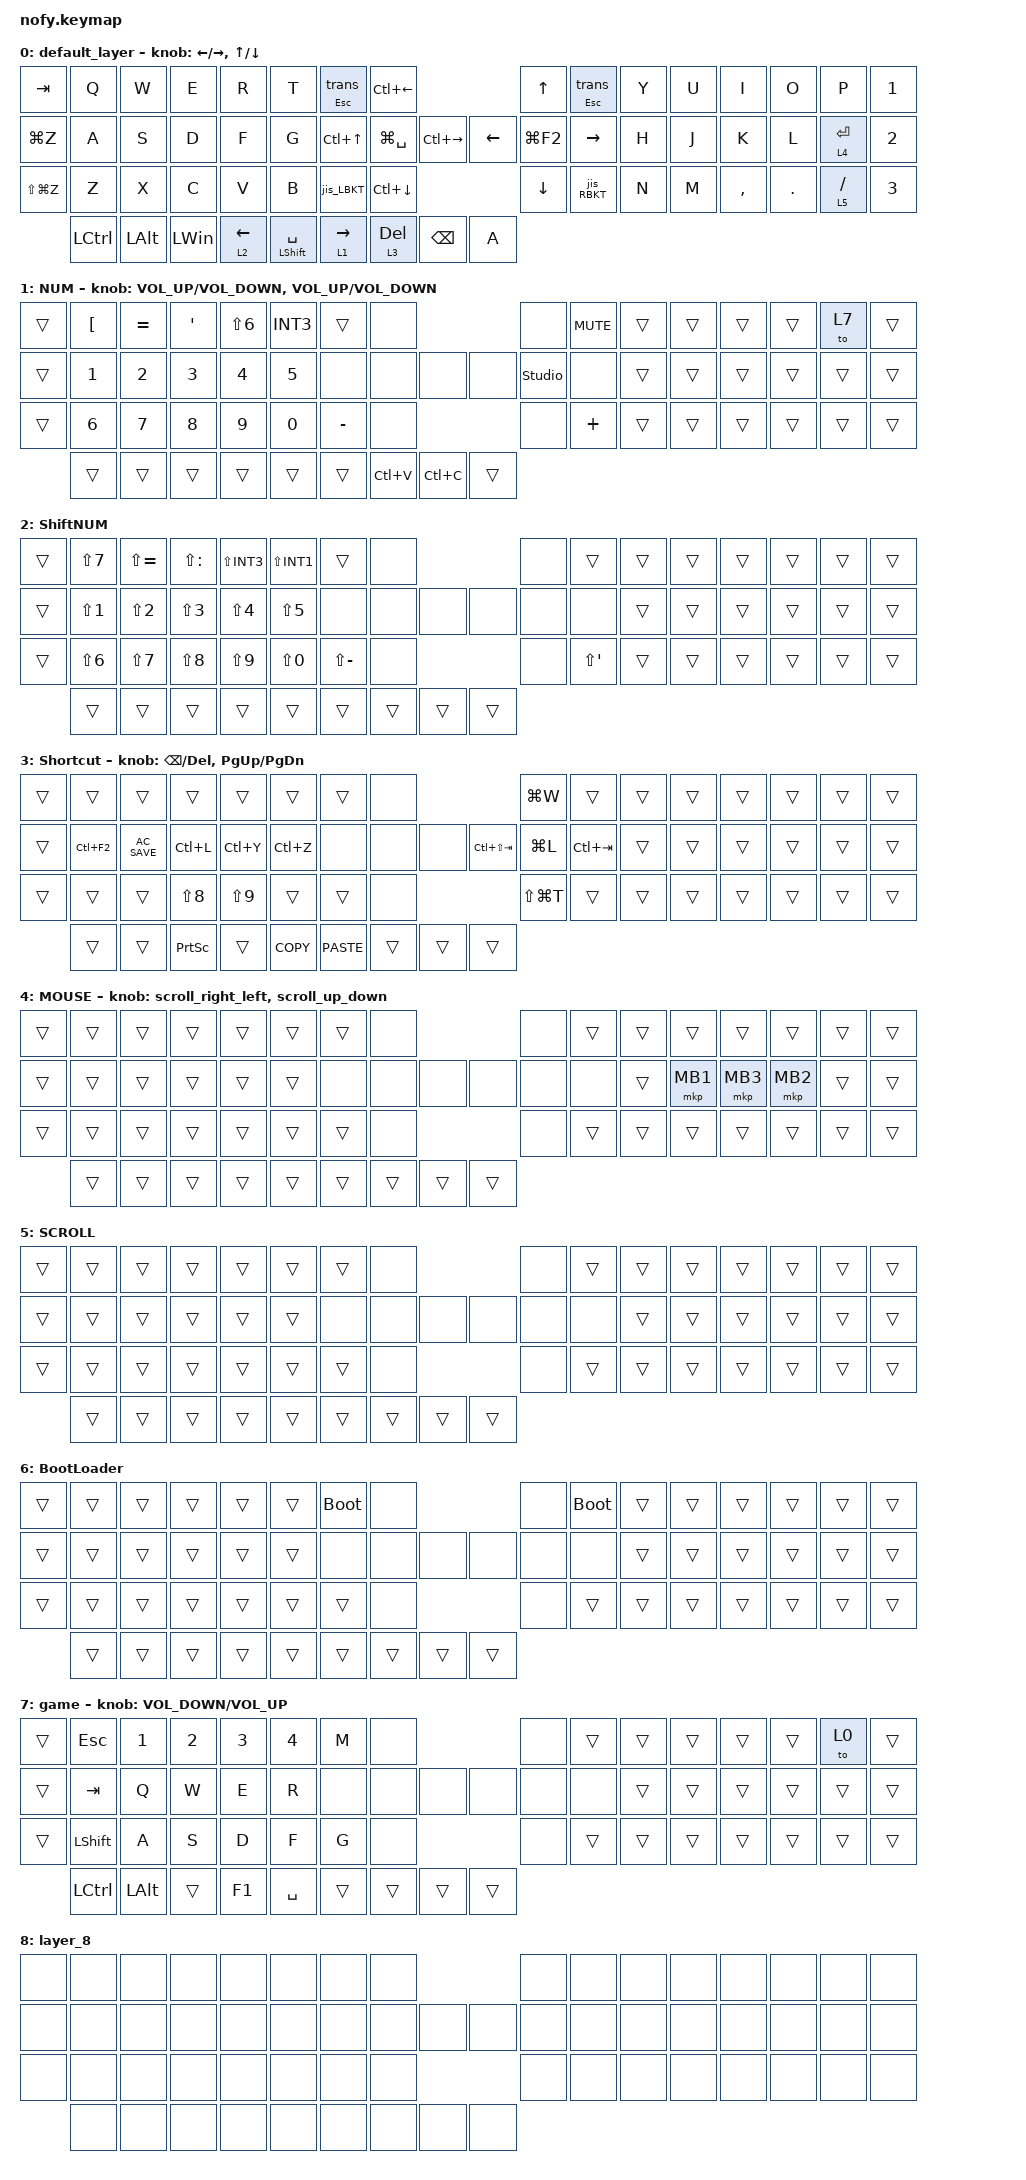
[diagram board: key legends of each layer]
#include <input/processors.dtsi>
#include <dt-bindings/zmk/input_transform.h>
#include <zephyr/dt-bindings/input/input-event-codes.h>
#include <behaviors.dtsi>
#include <dt-bindings/zmk/keys.h>
#include <dt-bindings/zmk/pointing.h>

#define ZMK_MOUSE_DEFAULT_SCRL_VAL 100

// 参考https://note.com/kloir_z/n/n314e739f03a1

#define JP_ZKHK  GRAVE        // Zenkaku ↔ Hankaku ↔ Kanji (半角 ↔ 全角 ↔ 漢字)
#define JP_MINUS MINUS        // -
#define JP_CARET EQUAL        // ^
#define JP_YEN   INT3         // ¥
#define JP_AT    LBKT         // @
#define JP_LBKT  RBKT         // [ß
#define JP_EISU  CAPS         // Eisū (英数)
#define JP_SEMI  SEMI         // ;
#define JP_COLON SQT          // :
#define JP_RBKT  NUHS         // ]
#define JP_COMMA COMMA        // ,
#define JP_DOT   DOT          // .
#define JP_SLASH SLASH        // /
#define JP_BSLH  INT1         // (backslash)
#define JP_MHEN  INT5         // Muhenkan (無変換)
#define JP_HENK  INT4         // Henkan (変換)
#define JP_KANA  INT2         // Katakana ↔ Hiragana ↔ Rōmaji (カタカナ ↔ ひらがな ↔ ローマ字)
#define JP_EXCL  LS(N1)       // !
#define JP_DQT   LS(N2)       // "
#define JP_HASH  LS(N3)       // #
#define JP_DLLR  LS(N4)       // $
#define JP_PRCNT LS(N5)       // %
#define JP_AMPS  LS(N6)       // &
#define JP_SQT   LS(N7)       // '
#define JP_LPAR  LS(N8)       // (
#define JP_RPAR  LS(N9)       // )
#define JP_EQUAL LS(JP_MINUS) // =
#define JP_TILDE LS(JP_CARET) // ~
#define JP_PIPE  LS(JP_YEN)   // |
#define JP_GRAVE LS(JP_AT)    // `
#define JP_LBRC  LS(JP_LBKT)  // {
#define JP_CAPS  LS(JP_EISU)  // Caps Lock
#define JP_PLUS  LS(JP_SEMI)  // +
#define JP_ASTRK LS(JP_COLON) // *
#define JP_RBRC  LS(JP_RBKT)  // }
#define JP_LT    LS(JP_COMMA) // <
#define JP_RT    LS(JP_DOT)   // >
#define JP_QMARK LS(JP_SLASH) // ?
#define JP_UNDER LS(JP_BSLH)  // _

&mt {
    flavor = "balanced";
    quick-tap-ms = <0>;
};

/ {
    combos {
        compatible = "zmk,combos";

        tab {
            bindings = <&kp TAB>;
            key-positions = <3 4>;
        };

        eng {
            bindings = <&kp LANGUAGE_2>;
            key-positions = <19 20>;
        };

        jp {
            bindings = <&kp LANGUAGE_1>;
            key-positions = <29 30>;
        };

        left-boot {
            bindings = <&bootloader>;
            key-positions = <50 5 55>;
        };

        right-boot {
            bindings = <&bootloader>;
            key-positions = <10 58 56>;
        };

        sys-reset {
            bindings = <&sys_reset>;
            key-positions = <10 14>;
        };
    };

    macros {
        test: sg {
            compatible = "zmk,behavior-macro";
            #binding-cells = <0>;
            bindings =
                <&kp SPACE>,
                <&macro_tap>,
                <&kp LEFT_CONTROL>,
                <&macro_press>;

            label = "SG";
        };

        win_tab: win_tab {
            compatible = "zmk,behavior-macro";
            #binding-cells = <0>;
            bindings =
                <&kp LEFT_WIN>,
                <&macro_press>,
                <&macro_wait_time 20>,
                <&kp TAB>,
                <&macro_tap>,
                <&macro_wait_time 150>,
                <&kp LEFT_WIN>,
                <&macro_release>;

            label = "WIN_TAB";
        };
    };

    behaviors {
        mt_trans: mt_trans {
            compatible = "zmk,behavior-hold-tap";
            label = "MT_TRANS";
            bindings = <&kp>, <&trans>;

            #binding-cells = <2>;
            tapping-term-ms = <200>;
        };

        HoldToLayer: HoldToLayer {
            compatible = "zmk,behavior-hold-tap";
            label = "HOLDTOLAYER";
            bindings = <&mo>, <&kp>;

            #binding-cells = <2>;
            tapping-term-ms = <150>;
            quick-tap-ms = <200>;
        };

        HoldToKey: HoldToKey {
            compatible = "zmk,behavior-hold-tap";
            label = "HOLDTOKEY";
            bindings = <&kp>, <&kp>;

            #binding-cells = <2>;
            tapping-term-ms = <150>;
            quick-tap-ms = <200>;
        };

        scroll_up_down: mouse_wheel_up_down {
            compatible = "zmk,behavior-sensor-rotate";
            #sensor-binding-cells = <0>;
            bindings = <&msc SCRL_DOWN>, <&msc SCRL_UP>;

            tap-ms = <20>;
        };

        scroll_right_left: mouse_wheel_right_left {
            compatible = "zmk,behavior-sensor-rotate";
            #sensor-binding-cells = <0>;
            bindings = <&msc SCRL_LEFT>, <&msc SCRL_RIGHT>;

            tap-ms = <20>;
        };
    };

    //--------USキーボードの記号を日本語OSで表示通りに入力するための処理-----------------------------
    //`~マーク

    jis_GRAVE: jis_GRAVE {
        compatible = "zmk,behavior-mod-morph";
        label = "jis_GRAVE";
        #binding-cells = <0>;
        bindings = <&kp LS(LBKT)>, <&kp EQUAL>;

        //通常時でもレフトシフトするようにしてある。

        mods = <(MOD_LSFT|MOD_RSFT)>;
        keep-mods = <(MOD_LSFT|MOD_RSFT)>;  //shiftを押しっぱなしにするための記述
    };

    //@マーク

    jis_N2: jis_N2 {
        compatible = "zmk,behavior-mod-morph";
        label = "jis_N2";
        #binding-cells = <0>;
        bindings = <&kp N2>, <&kp LBKT>;

        mods = <(MOD_LSFT|MOD_RSFT)>;

        //keep-mods = <(MOD_LSFT|MOD_RSFT)>;
    };

    //^マーク

    jis_N6: jis_N6 {
        compatible = "zmk,behavior-mod-morph";
        label = "jis_N6";
        #binding-cells = <0>;
        bindings = <&kp N6>, <&kp EQUAL>;

        mods = <(MOD_LSFT|MOD_RSFT)>;

        //keep-mods = <(MOD_LSFT|MOD_RSFT)>;
        //&マーク
    };

    jis_N7: jis_N7 {
        compatible = "zmk,behavior-mod-morph";
        label = "jis_N7";
        #binding-cells = <0>;
        bindings = <&kp N7>, <&kp N6>;

        mods = <(MOD_LSFT|MOD_RSFT)>;
        keep-mods = <(MOD_LSFT|MOD_RSFT)>;
    };

    //アスタリスクマーク

    jis_N8: jis_N8 {
        compatible = "zmk,behavior-mod-morph";
        label = "jis_N8";
        #binding-cells = <0>;
        bindings = <&kp N8>, <&kp SQT>;

        mods = <(MOD_LSFT|MOD_RSFT)>;
        keep-mods = <(MOD_LSFT|MOD_RSFT)>;
    };

    // (マーク

    jis_N9: jis_N9 {
        compatible = "zmk,behavior-mod-morph";
        label = "jis_N9";
        #binding-cells = <0>;
        bindings = <&kp N9>, <&kp N8>;

        mods = <(MOD_LSFT|MOD_RSFT)>;
        keep-mods = <(MOD_LSFT|MOD_RSFT)>;
    };

    // )マーク

    jis_N0: jis_N0 {
        compatible = "zmk,behavior-mod-morph";
        label = "jis_N0";
        #binding-cells = <0>;
        bindings = <&kp N0>, <&kp N9>;

        mods = <(MOD_LSFT|MOD_RSFT)>;
        keep-mods = <(MOD_LSFT|MOD_RSFT)>;
    };

    //アンダーバー

    jis_MINUS: jis_MINUS {
        compatible = "zmk,behavior-mod-morph";
        label = "jis_MINUS";
        #binding-cells = <0>;
        bindings = <&kp MINUS>, <&kp INT1>;

        mods = <(MOD_LSFT|MOD_RSFT)>;
        keep-mods = <(MOD_LSFT|MOD_RSFT)>;
    };

    //イコールとプラス

    jis_EQUAL: jis_EQUAL {
        compatible = "zmk,behavior-mod-morph";
        label = "jis_EQUAL";
        #binding-cells = <0>;
        bindings = <&kp LS(MINUS)>, <&kp SEMI>;

        mods = <(MOD_LSFT|MOD_RSFT)>;
        keep-mods = <(MOD_LSFT|MOD_RSFT)>;
    };

    // [マーク

    jis_LBKT: jis_LBKT {
        compatible = "zmk,behavior-mod-morph";
        label = "jis_LBKT";
        #binding-cells = <0>;
        bindings = <&kp RBKT>, <&kp RBKT>;

        mods = <(MOD_LSFT|MOD_RSFT)>;
        keep-mods = <(MOD_LSFT|MOD_RSFT)>;
    };

    // ]マーク

    jis_RBKT: jis_RBKT {
        compatible = "zmk,behavior-mod-morph";
        label = "jis_RBKT";
        #binding-cells = <0>;
        bindings = <&kp BSLH>, <&kp BSLH>;

        mods = <(MOD_LSFT|MOD_RSFT)>;
        keep-mods = <(MOD_LSFT|MOD_RSFT)>;
    };

    // yenマーク

    jis_BSLH: jis_BSLH {
        compatible = "zmk,behavior-mod-morph";
        label = "jis_BSLH";
        #binding-cells = <0>;
        bindings = <&kp INT3>, <&kp INT3>;

        //INT3ではないかも

        mods = <(MOD_LSFT|MOD_RSFT)>;
        keep-mods = <(MOD_LSFT|MOD_RSFT)>;
    };

    //コロンセミコロン

    jis_SEMI: jis_SEMI {
        compatible = "zmk,behavior-mod-morph";
        label = "jis_SEMI";
        #binding-cells = <0>;
        bindings = <&kp SEMI>, <&kp SQT>;

        mods = <(MOD_LSFT|MOD_RSFT)>;

        //keep-mods = <(MOD_LSFT|MOD_RSFT)>;
    };

    //クオーテーション

    jis_SQT: jis_SQT {
        compatible = "zmk,behavior-mod-morph";
        label = "jis_SQT";
        #binding-cells = <0>;
        bindings = <&kp LS(N7)>, <&kp N2>;

        mods = <(MOD_LSFT|MOD_RSFT)>;
        keep-mods = <(MOD_LSFT|MOD_RSFT)>;
    };

    keymap {
        compatible = "zmk,keymap";

        default_layer {
            bindings = <
&kp TAB        &kp Q             &kp W         &kp E         &kp R                &kp T                        &mt_trans ESCAPE 0                      &kp LC(LEFT_ARROW)                                                   &kp UP_ARROW                   &mt_trans ESC 0  &kp Y  &kp U  &kp I      &kp O    &kp P        &kp NUMBER_1
&kp LG(Z)      &kp A             &kp S         &kp D         &kp F                &kp G                                              &kp LC(UP_ARROW)  &kp LG(SPACE)          &kp LC(RIGHT_ARROW)           &kp LEFT_ARROW  &kp LG(F2)    &kp RIGHT_ARROW                   &kp H  &kp J  &kp K      &kp L    &lt 4 ENTER  &kp NUMBER_2
&kp LS(LG(Z))  &kp Z             &kp X         &kp C         &kp V                &kp B                        &jis_LBKT                               &kp LC(DOWN_ARROW)                                                   &kp DOWN                       &jis_RBKT        &kp N  &kp M  &kp COMMA  &kp DOT  &lt 5 SLASH  &kp NUMBER_3
               &kp LEFT_CONTROL  &kp LEFT_ALT  &kp LEFT_WIN  &HoldToLayer 2 LEFT  &HoldToKey LEFT_SHIFT SPACE  &HoldToLayer 1 RIGHT                    &HoldToLayer 3 DELETE  &kp BACKSPACE        &kp A
            >;

            sensor-bindings =
                <&inc_dec_kp LEFT RIGHT>,
                <&inc_dec_kp UP_ARROW DOWN>;
        };

        NUM {
            bindings = <
&trans  &kp LBKT      &kp EQUAL     &kp SQT       &kp LS(N6)    &kp INT3  &trans            &none                                  &none                  &kp K_MUTE  &trans  &trans  &trans  &trans  &to 7   &trans
&trans  &kp NUMBER_1  &kp NUMBER_2  &kp NUMBER_3  &kp NUMBER_4  &kp N5               &none  &none      &none                &none  &studio_unlock  &none              &trans  &trans  &trans  &trans  &trans  &trans
&trans  &kp NUMBER_6  &kp N7        &kp N8        &kp N9        &kp N0    &kp MINUS         &none                                  &none                  &kp PLUS    &trans  &trans  &trans  &trans  &trans  &trans
        &trans        &trans        &trans        &trans        &trans    &trans            &kp LC(V)  &kp LC(C)  &trans
            >;

            sensor-bindings =
                <&inc_dec_kp C_VOLUME_UP C_VOLUME_DOWN>,
                <&inc_dec_kp C_VOLUME_UP C_VOLUME_DOWN>;
        };

        ShiftNUM {
            bindings = <
&trans  &kp LS(N7)        &kp LS(EQUAL)  &kp LS(COLON)  &kp LS(INT3)  &kp LS(INT1)  &trans                &none                            &none         &trans       &trans  &trans  &trans  &trans  &trans  &trans
&trans  &kp LS(NUMBER_1)  &kp LS(N2)     &kp LS(N3)     &kp LS(N4)    &kp LS(N5)                   &none  &none   &none             &none  &none  &none               &trans  &trans  &trans  &trans  &trans  &trans
&trans  &kp LS(N6)        &kp LS(N7)     &kp LS(N8)     &kp LS(N9)    &kp LS(N0)    &kp LS(MINUS)         &none                            &none         &kp LS(SQT)  &trans  &trans  &trans  &trans  &trans  &trans
        &trans            &trans         &trans         &trans        &trans        &trans                &trans  &trans  &trans
            >;
        };

        Shortcut {
            bindings = <
&trans  &trans      &trans         &trans           &trans      &trans      &trans              &none                                      &kp LG(W)                   &trans  &trans  &trans  &trans  &trans  &trans  &trans
&trans  &kp LC(F2)  &kp C_AC_SAVE  &kp LC(L)        &kp LC(Y)   &kp LC(Z)                &none  &none   &none             &kp LC(LS(TAB))  &kp LG(L)      &kp LC(TAB)          &trans  &trans  &trans  &trans  &trans  &trans
&trans  &trans      &trans         &kp LS(N8)       &kp LS(N9)  &trans      &trans              &none                                      &kp LS(LG(T))               &trans  &trans  &trans  &trans  &trans  &trans  &trans
        &trans      &trans         &kp PRINTSCREEN  &trans      &kp K_COPY  &kp K_PASTE         &trans  &trans  &trans
            >;

            sensor-bindings =
                <&inc_dec_kp BACKSPACE DELETE>,
                <&inc_dec_kp PAGE_UP PAGE_DOWN>;
        };

        MOUSE {
            bindings = <
&trans  &trans  &trans  &trans  &trans  &trans  &trans         &none                            &none         &trans  &trans  &trans    &trans    &trans    &trans  &trans
&trans  &trans  &trans  &trans  &trans  &trans          &none  &none   &none             &none  &none  &none          &trans  &mkp MB1  &mkp MB3  &mkp MB2  &trans  &trans
&trans  &trans  &trans  &trans  &trans  &trans  &trans         &none                            &none         &trans  &trans  &trans    &trans    &trans    &trans  &trans
        &trans  &trans  &trans  &trans  &trans  &trans         &trans  &trans  &trans
            >;

            sensor-bindings = <&scroll_right_left>, <&scroll_up_down>;
        };

        SCROLL {
            bindings = <
&trans  &trans  &trans  &trans  &trans  &trans  &trans         &none                            &none         &trans  &trans  &trans  &trans  &trans  &trans  &trans
&trans  &trans  &trans  &trans  &trans  &trans          &none  &none   &none             &none  &none  &none          &trans  &trans  &trans  &trans  &trans  &trans
&trans  &trans  &trans  &trans  &trans  &trans  &trans         &none                            &none         &trans  &trans  &trans  &trans  &trans  &trans  &trans
        &trans  &trans  &trans  &trans  &trans  &trans         &trans  &trans  &trans
            >;
        };

        BootLoader {
            bindings = <
&trans  &trans  &trans  &trans  &trans  &trans  &bootloader         &none                            &none         &bootloader  &trans  &trans  &trans  &trans  &trans  &trans
&trans  &trans  &trans  &trans  &trans  &trans               &none  &none   &none             &none  &none  &none               &trans  &trans  &trans  &trans  &trans  &trans
&trans  &trans  &trans  &trans  &trans  &trans  &trans              &none                            &none         &trans       &trans  &trans  &trans  &trans  &trans  &trans
        &trans  &trans  &trans  &trans  &trans  &trans              &trans  &trans  &trans
            >;
        };

        game {
            bindings = <
&trans  &kp ESC    &kp N1        &kp N2  &kp N3  &kp N4     &kp M          &none                            &none         &trans  &trans  &trans  &trans  &trans  &to 0   &trans
&trans  &kp TAB    &kp Q         &kp W   &kp E   &kp R              &none  &none   &none             &none  &none  &none          &trans  &trans  &trans  &trans  &trans  &trans
&trans  &kp LSHFT  &kp A         &kp S   &kp D   &kp F      &kp G          &none                            &none         &trans  &trans  &trans  &trans  &trans  &trans  &trans
        &kp LCTRL  &kp LEFT_ALT  &trans  &kp F1  &kp SPACE  &trans         &trans  &trans  &trans
            >;

            sensor-bindings = <&inc_dec_kp C_VOLUME_DOWN C_VOLUME_UP>;
        };

        layer_8 {
            bindings = <
&none  &none  &none  &none  &none  &none  &none         &none                         &none         &none  &none  &none  &none  &none  &none  &none
&none  &none  &none  &none  &none  &none         &none  &none  &none           &none  &none  &none         &none  &none  &none  &none  &none  &none
&none  &none  &none  &none  &none  &none  &none         &none                         &none         &none  &none  &none  &none  &none  &none  &none
       &none  &none  &none  &none  &none  &none         &none  &none  &none
            >;
        };
    };
};
